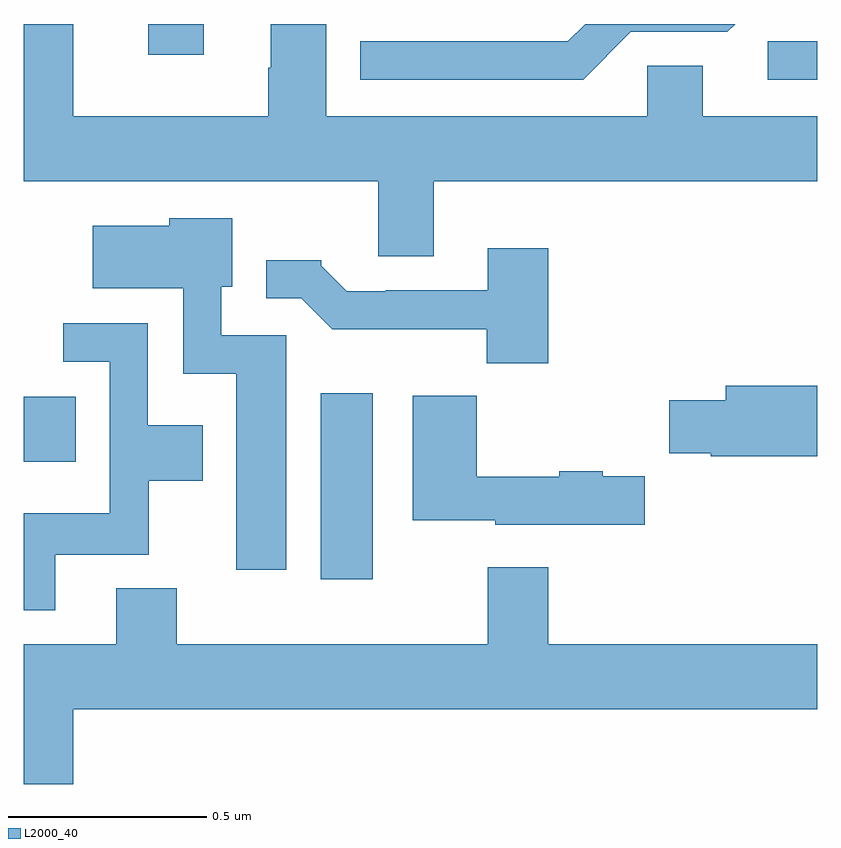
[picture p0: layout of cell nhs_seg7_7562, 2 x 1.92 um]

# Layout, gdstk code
import gdstk
lib = gdstk.Library(unit=1e-6, precision=1e-09)
def R(c, l, rs):  # rectangles x0, y0, x1, y1
    for r in rs: c.add(gdstk.rectangle(r[:2], r[2:], *l))
def P(c, l, *ps):  # polygons
    for p in ps: c.add(gdstk.Polygon(p, *l))
L2000_40 = (2000, 40)

nhs_seg7_7562 = lib.new_cell('nhs_seg7_7562')
R(nhs_seg7_7562, L2000_40, [(213.749,1011.6,213.88,1012.069), (213,1011.896,213.131,1012.06), (214.875,1012.86,215,1012.956), (213.314,1012.923,213.454,1013)])
P(nhs_seg7_7562, L2000_40, [(214.033,1012.604),(215,1012.604),(215,1012.768),(214.711,1012.768),(214.711,1012.895),(214.572,1012.895),(214.572,1012.768),(213.763,1012.768),(213.763,1013),(213.623,1013),(213.623,1012.89),(213.616,1012.89),(213.616,1012.768),(213.124,1012.768),(213.124,1013),(213,1013),(213,1012.604),(213.893,1012.604),(213.893,1012.414),(214.033,1012.414)],
  [(214.53,1012.98),(214.773,1012.98),(214.793,1013),(214.415,1013),(214.371,1012.956),(213.848,1012.956),(213.848,1012.86),(214.41,1012.86)],
  [(213.661,1012.215),(213.498,1012.215),(213.498,1012.338),(213.526,1012.338),(213.526,1012.51),(213.366,1012.51),(213.366,1012.492),(213.174,1012.492),(213.174,1012.334),(213.402,1012.334),(213.402,1012.118),(213.536,1012.118),(213.536,1011.624),(213.661,1011.624)],
  [(214.322,1012.435),(214.169,1012.435),(214.169,1012.329),(213.913,1012.329),(213.913,1012.326),(213.814,1012.326),(213.75,1012.39),(213.75,1012.405),(213.611,1012.405),(213.611,1012.308),(213.699,1012.308),(213.778,1012.23),(214.167,1012.23),(214.167,1012.145),(214.322,1012.145)],
  [(213.079,1011.662),(213.315,1011.662),(213.315,1011.848),(213.451,1011.848),(213.451,1011.988),(213.312,1011.988),(213.312,1012.245),(213.099,1012.245),(213.099,1012.149),(213.216,1012.149),(213.216,1011.766),(213,1011.766),(213,1011.522),(213.079,1011.522)],
  [(215,1012.088),(214.769,1012.088),(214.769,1012.052),(214.627,1012.052),(214.627,1011.918),(214.732,1011.918),(214.732,1011.91),(215,1011.91)],
  [(214.565,1011.86),(214.46,1011.86),(214.46,1011.872),(214.35,1011.872),(214.35,1011.859),(214.142,1011.859),(214.142,1012.063),(213.98,1012.063),(213.98,1011.749),(214.188,1011.749),(214.188,1011.737),(214.565,1011.737)],
  [(213.124,1011.272),(215,1011.272),(215,1011.436),(214.322,1011.436),(214.322,1011.631),(214.169,1011.631),(214.169,1011.436),(213.386,1011.436),(213.386,1011.577),(213.233,1011.577),(213.233,1011.436),(213,1011.436),(213,1011.084),(213.124,1011.084)])

lib.write_gds('nhs_seg7_7562.gds')
